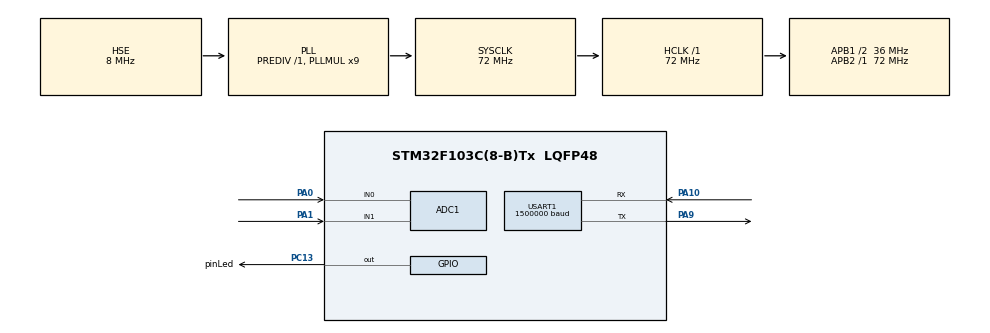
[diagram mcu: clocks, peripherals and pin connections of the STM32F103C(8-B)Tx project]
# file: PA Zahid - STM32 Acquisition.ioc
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ADC1.Channel-13\#ChannelRegularConversion=ADC_CHANNEL_0
ADC1.Channel-21\#ChannelRegularConversion=ADC_CHANNEL_1
ADC1.ContinuousConvMode=DISABLE
ADC1.DiscontinuousConvMode=DISABLE
ADC1.EnableRegularConversion=ENABLE
ADC1.ExternalTrigConv=ADC_EXTERNALTRIGCONV_T3_TRGO
ADC1.NbrOfConversion=2
ADC1.NbrOfConversionFlag=1
ADC1.Rank-13\#ChannelRegularConversion=1
ADC1.Rank-21\#ChannelRegularConversion=2
ADC1.SamplingTime-13\#ChannelRegularConversion=ADC_SAMPLETIME_1CYCLE_5
ADC1.SamplingTime-21\#ChannelRegularConversion=ADC_SAMPLETIME_1CYCLE_5
ADC1.master=1
Dma.ADC1.0.Direction=DMA_PERIPH_TO_MEMORY
Dma.ADC1.0.Instance=DMA1_Channel1
Dma.ADC1.0.MemDataAlignment=DMA_MDATAALIGN_HALFWORD
Dma.ADC1.0.MemInc=DMA_MINC_ENABLE
Dma.ADC1.0.Mode=DMA_CIRCULAR
Dma.ADC1.0.PeriphDataAlignment=DMA_PDATAALIGN_HALFWORD
Dma.ADC1.0.PeriphInc=DMA_PINC_DISABLE
Dma.ADC1.0.Priority=DMA_PRIORITY_LOW
Dma.Request0=ADC1
Dma.Request1=USART1_TX
Dma.USART1_TX.1.Direction=DMA_MEMORY_TO_PERIPH
Dma.USART1_TX.1.Instance=DMA1_Channel4
Dma.USART1_TX.1.MemDataAlignment=DMA_MDATAALIGN_BYTE
Dma.USART1_TX.1.MemInc=DMA_MINC_ENABLE
Dma.USART1_TX.1.Mode=DMA_CIRCULAR
Dma.USART1_TX.1.PeriphDataAlignment=DMA_PDATAALIGN_BYTE
Dma.USART1_TX.1.PeriphInc=DMA_PINC_DISABLE
Dma.USART1_TX.1.Priority=DMA_PRIORITY_LOW
Mcu.Family=STM32F1
Mcu.Name=STM32F103C(8-B)Tx
Mcu.Package=LQFP48
NVIC.ADC1_2_IRQn=true\:2\:0\:true\:false\:true\:true\:true
NVIC.DMA1_Channel1_IRQn=true\:0\:0\:false\:false\:true\:false\:true
NVIC.DMA1_Channel4_IRQn=true\:1\:0\:true\:false\:true\:false\:true
NVIC.PriorityGroup=NVIC_PRIORITYGROUP_4
NVIC.TIM2_IRQn=true\:0\:0\:false\:false\:true\:true\:true
NVIC.TIM3_IRQn=true\:1\:0\:true\:false\:true\:true\:true
NVIC.USART1_IRQn=true\:2\:0\:true\:false\:true\:true\:true
PA0-WKUP.Signal=ADCx_IN0
PA1.Signal=ADCx_IN1
PA10.Mode=Asynchronous
PA10.Signal=USART1_RX
PA13.Mode=Serial_Wire
PA13.Signal=SYS_JTMS-SWDIO
PA14.Mode=Serial_Wire
PA14.Signal=SYS_JTCK-SWCLK
PA9.Mode=Asynchronous
PA9.Signal=USART1_TX
PC13-TAMPER-RTC.GPIO_Label=pinLed
PC13-TAMPER-RTC.Signal=GPIO_Output
PD0-OSC_IN.Mode=HSE-External-Oscillator
PD0-OSC_IN.Signal=RCC_OSC_IN
PD1-OSC_OUT.Mode=HSE-External-Oscillator
PD1-OSC_OUT.Signal=RCC_OSC_OUT
ProjectManager.HeapSize=0x200
ProjectManager.StackSize=0x400
ProjectManager.TargetToolchain=Other Toolchains (GPDSC)
RCC.ADCPresc=RCC_ADCPCLK2_DIV6
RCC.AHBFreq_Value=72000000
RCC.APB1CLKDivider=RCC_HCLK_DIV2
RCC.APB1Freq_Value=36000000
RCC.APB1TimFreq_Value=72000000
RCC.APB2Freq_Value=72000000
RCC.APB2TimFreq_Value=72000000
RCC.HCLKFreq_Value=72000000
RCC.PLLMUL=RCC_PLL_MUL9
RCC.PLLSourceVirtual=RCC_PLLSOURCE_HSE
RCC.SYSCLKFreq_VALUE=72000000
RCC.SYSCLKSource=RCC_SYSCLKSOURCE_PLLCLK
RCC.USBFreq_Value=48000000
RCC.USBPrescaler=RCC_USBCLKSOURCE_PLL_DIV1_5
SH.ADCx_IN0.0=ADC1_IN0,IN0
SH.ADCx_IN1.0=ADC1_IN1,IN1
TIM2.AutoReloadPreload=TIM_AUTORELOAD_PRELOAD_ENABLE
TIM2.Period=2 - 1
TIM2.Prescaler=3600 - 1
TIM2.TIM_MasterOutputTrigger=TIM_TRGO_UPDATE
TIM3.AutoReloadPreload=TIM_AUTORELOAD_PRELOAD_ENABLE
TIM3.Period=2 -1
TIM3.Prescaler=36000 - 1
TIM3.TIM_MasterOutputTrigger=TIM_TRGO_UPDATE
USART1.BaudRate=1500000
USART1.Parity=PARITY_NONE
USART1.VirtualMode=VM_ASYNC
USART1.WordLength=WORDLENGTH_8B
VP_TIM2_VS_ClockSourceINT.Mode=Internal
VP_TIM3_VS_ClockSourceINT.Mode=Internal
board=custom

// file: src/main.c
/* USER CODE BEGIN Header */
/**
  ******************************************************************************
  * @file           : main.c
  * @brief          : Main program body
  ******************************************************************************
  * @attention
  *
  * <h2><center>&copy; Copyright (c) 2020 STMicroelectronics.
  * All rights reserved.</center></h2>
  *
  * This software component is licensed by ST under BSD 3-Clause license,
  * the "License"; You may not use this file except in compliance with the
  * License. You may obtain a copy of the License at:
  *                        opensource.org/licenses/BSD-3-Clause
  *
  ******************************************************************************
  */
/* USER CODE END Header */
#include "main.h"
#include "adc.h"
#include "dma.h"
#include "tim.h"
#include "usart.h"
#include "gpio.h"

/* USER CODE BEGIN Includes */
#include "printf.h"
#include "string.h"
#include "compression.h"
#include "communication.h"
#include "queue.h"
/* USER CODE END Includes */

/* USER CODE BEGIN PV */
// uint8_t str[] = "Halo\r \n";
char buffer[100] = "";
uint8_t bufferLen;
char data2Send[100];
uint16_t data2SendLen = 0;
uint8_t data2SendCnt = 0;

volatile uint16_t adcRaw[2] = {
    0,
    2000,
};

float adcVolt[2] = {10, 10};
float adcRatio = 5.0 / 4096.0;

// Period Beteween Samples
uint32_t timeNow100us = 0;
uint32_t timePrev100us = 0;
uint32_t timeElapsed100us = 0;

char tes[] = "85";
/* USER CODE END PV */

void SystemClock_Config(void);

int main(void)
{

  /* MCU Configuration--------------------------------------------------------*/

  /* Reset of all peripherals, Initializes the Flash interface and the Systick. */
  HAL_Init();

  /* Configure the system clock */
  SystemClock_Config();

  /* Initialize all configured peripherals */
  MX_GPIO_Init();
  MX_DMA_Init();
  MX_ADC1_Init();
  MX_USART1_UART_Init();
  MX_TIM3_Init();
  MX_TIM2_Init();
  /* USER CODE BEGIN 2 */
  HAL_GPIO_WritePin(pinLed_GPIO_Port, pinLed_Pin, GPIO_PIN_RESET);
  commListening();
  HAL_Delay(1000);
  // HAL_ADC_Start_DMA(&hadc1, (uint32_t *)&adcRaw, 8);
  // HAL_TIM_Base_Start_IT(&htim3);
  // HAL_TIM_Base_Start_IT(&htim2);
  HAL_GPIO_WritePin(pinLed_GPIO_Port, pinLed_Pin, GPIO_PIN_SET);
  /* USER CODE END 2 */

  /* Infinite loop */
  while (1)
  {

  }
}

void SystemClock_Config(void)
{
  RCC_OscInitTypeDef RCC_OscInitStruct = {0};
  RCC_ClkInitTypeDef RCC_ClkInitStruct = {0};
  RCC_PeriphCLKInitTypeDef PeriphClkInit = {0};

  /** Initializes the RCC Oscillators according to the specified parameters
  * in the RCC_OscInitTypeDef structure.
  */
  RCC_OscInitStruct.OscillatorType = RCC_OSCILLATORTYPE_HSE;
  RCC_OscInitStruct.HSEState = RCC_HSE_ON;
  RCC_OscInitStruct.HSEPredivValue = RCC_HSE_PREDIV_DIV1;
  RCC_OscInitStruct.HSIState = RCC_HSI_ON;
  RCC_OscInitStruct.PLL.PLLState = RCC_PLL_ON;
  RCC_OscInitStruct.PLL.PLLSource = RCC_PLLSOURCE_HSE;
  RCC_OscInitStruct.PLL.PLLMUL = RCC_PLL_MUL9;
  if (HAL_RCC_OscConfig(&RCC_OscInitStruct) != HAL_OK)
  {
    Error_Handler();
  }
  /** Initializes the CPU, AHB and APB buses clocks
  */
  RCC_ClkInitStruct.ClockType = RCC_CLOCKTYPE_HCLK | RCC_CLOCKTYPE_SYSCLK | RCC_CLOCKTYPE_PCLK1 | RCC_CLOCKTYPE_PCLK2;
  RCC_ClkInitStruct.SYSCLKSource = RCC_SYSCLKSOURCE_PLLCLK;
  RCC_ClkInitStruct.AHBCLKDivider = RCC_SYSCLK_DIV1;
  RCC_ClkInitStruct.APB1CLKDivider = RCC_HCLK_DIV2;
  RCC_ClkInitStruct.APB2CLKDivider = RCC_HCLK_DIV1;

  if (HAL_RCC_ClockConfig(&RCC_ClkInitStruct, FLASH_LATENCY_2) != HAL_OK)
  {
    Error_Handler();
  }
  PeriphClkInit.PeriphClockSelection = RCC_PERIPHCLK_ADC;
  PeriphClkInit.AdcClockSelection = RCC_ADCPCLK2_DIV6;
  if (HAL_RCCEx_PeriphCLKConfig(&PeriphClkInit) != HAL_OK)
  {
    Error_Handler();
  }
}

/* USER CODE BEGIN 4 */

void HAL_ADC_ConvCpltCallback(ADC_HandleTypeDef *hadc)
{
  commSendasBytes((uint16_t *)&adcRaw, 2, 2);
}

void HAL_UART_TxCpltCallback(UART_HandleTypeDef *huart)
{
  HAL_UART_DMAStop(&huart1);
}

void HAL_TIM_PeriodElapsedCallback(TIM_HandleTypeDef *htim)
{

}

void HAL_UART_RxCpltCallback(UART_HandleTypeDef *huart)
{
  commRxHandler();
}
/* USER CODE END 4 */

void Error_Handler(void)
{
}

/************************ (C) COPYRIGHT STMicroelectronics *****END OF FILE****/
